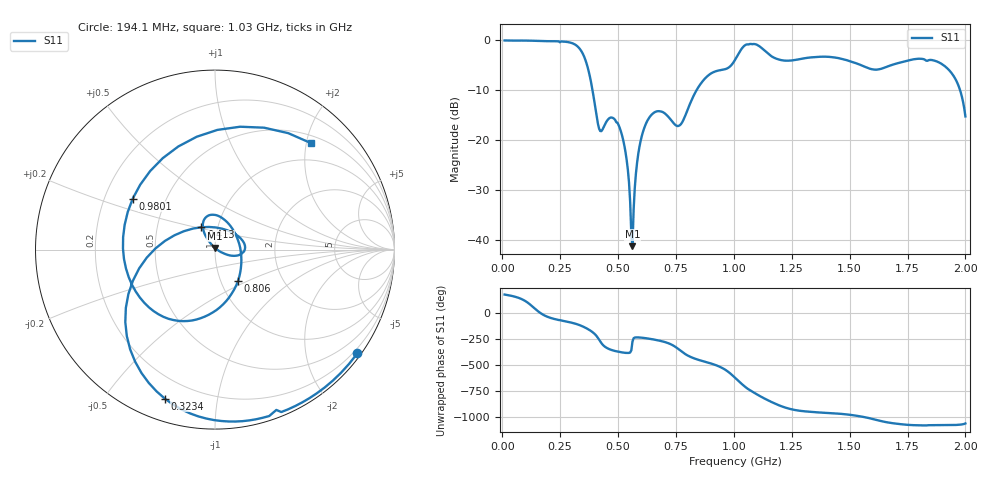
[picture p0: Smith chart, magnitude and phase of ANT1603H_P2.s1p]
!Created with skrf (http://scikit-rf.org).
# Hz S RI R 50.0
!freq ReS11 ImS11
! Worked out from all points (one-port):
!   401 points, 10 MHz to 2 GHz, reference 50 ohm
!   lowest |S11| = -41.3 dB at 562.2 MHz (marker M1), VSWR 1.02, Z = 50.1 + j0.862 ohm
!   |S11| at or under -10 dB: 389.6 MHz to 838.8 MHz (449.2 MHz wide, 73.1 % of centre); 1.977 GHz to end of sweep
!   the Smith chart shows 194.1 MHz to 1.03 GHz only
!   S11 on the Smith chart (normalised r, x): 194.1 MHz: 0.10, -3.07; 323.4 MHz: 0.10, -0.71; 413 MHz: 0.83, +0.21; 806 MHz: 1.20, -0.45; 980.1 MHz: 0.32, +0.26; 1.03 GHz: 0.64, +2.09
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1e7  -0.9958 0.0661
7.4675e7  -0.7738 0.6265
1.1945e8  0.1388 0.9838
1.54275e8  0.9487 0.2747
1.94075e8  0.793 -0.5783
2.5875e8  0.2648 -0.9373
3.23425e8  -0.2793 -0.8305
3.63225e8  -0.4968 -0.3252
4.12975e8  -0.0757 0.1247
5.075e8  0.1276 -0.0324
5.32375e8  0.0693 -0.029
5.62225e8  0.000659 0.00861
5.92075e8  -0.0486 0.0698
6.269e8  -0.0677 0.1415
7.5625e8  0.1289 0.0499
8.06e8  0.1276 -0.1763
9.055e8  -0.2869 -0.3748
9.80125e8  -0.4581 0.2845
1.005e9  -0.1019 0.6288
1.029875e9  0.5367 0.5924
1.0647e9  0.8862 -0.2143
1.11445e9  0.1638 -0.8428
1.17415e9  -0.5493 -0.3822
1.25375e9  -0.5678 0.2738
1.5025e9  -0.144 0.5992
1.75125e9  0.6209 0.0821
1.9204e9  0.5261 0.0445
2e9  0.1612 0.062
